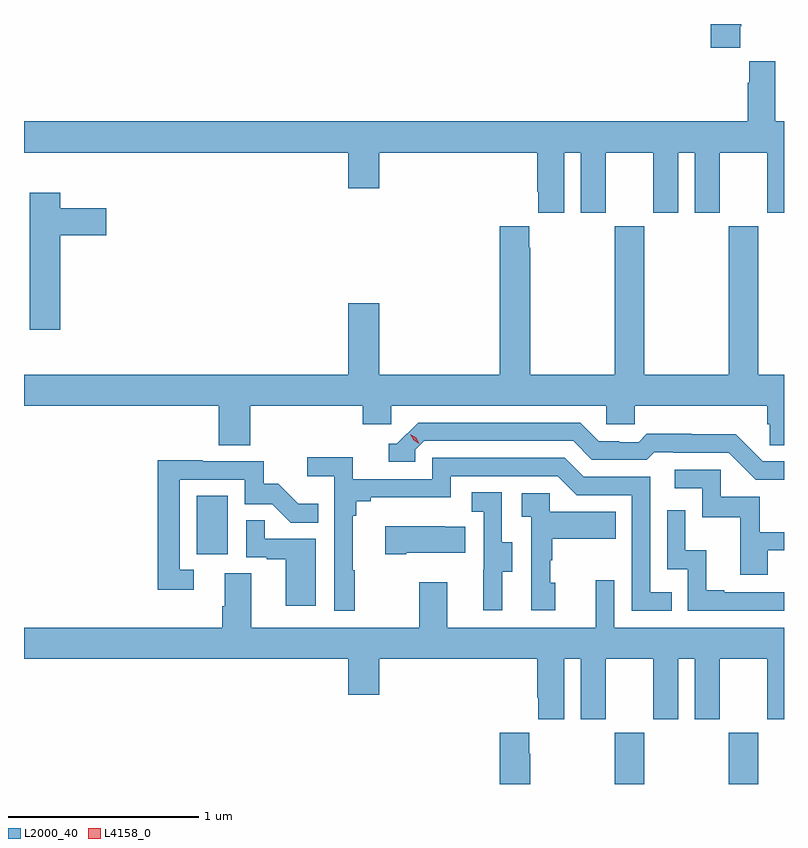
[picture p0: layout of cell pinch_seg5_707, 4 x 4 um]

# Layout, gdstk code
import gdstk
lib = gdstk.Library(unit=1e-6, precision=1e-09)
def R(c, l, rs):  # rectangles x0, y0, x1, y1
    for r in rs: c.add(gdstk.rectangle(r[:2], r[2:], *l))
def P(c, l, *ps):  # polygons
    for p in ps: c.add(gdstk.Polygon(p, *l))
L2000_40 = (2000, 40)
L4158_0 = (4158, 0)

pinch_seg5_707 = lib.new_cell('pinch_seg5_707')
R(pinch_seg5_707, L2000_40, [(1143.433,845.445,1143.588,845.716), (1144.033,845.445,1144.188,845.716), (1141.232,846.654,1141.396,846.961)])
P(pinch_seg5_707, L2000_40, [(1144.093,849.433),(1144.098,849.433),(1144.098,849.445),(1143.938,849.445),(1143.938,849.321),(1144.093,849.321)],
  [(1140.323,848.768),(1142.03,848.768),(1142.03,848.58),(1142.194,848.58),(1142.194,848.768),(1143.023,848.768),(1143.023,848.563),(1143.029,848.563),(1143.029,848.451),(1143.166,848.451),(1143.166,848.768),(1143.254,848.768),(1143.254,848.451),(1143.385,848.451),(1143.385,848.768),(1143.635,848.768),(1143.635,848.451),(1143.766,848.451),(1143.766,848.768),(1143.854,848.768),(1143.854,848.451),(1143.985,848.451),(1143.985,848.768),(1144.235,848.768),(1144.235,848.451),(1144.323,848.451),(1144.323,848.932),(1144.276,848.932),(1144.276,849.25),(1144.139,849.25),(1144.139,849.137),(1144.133,849.137),(1144.133,848.932),(1140.323,848.932)],
  [(1140.514,848.333),(1140.757,848.333),(1140.757,848.475),(1140.514,848.475),(1140.514,848.557),(1140.353,848.557),(1140.353,847.836),(1140.514,847.836)],
  [(1141.514,847.436),(1142.105,847.436),(1142.105,847.338),(1142.256,847.338),(1142.256,847.436),(1143.387,847.436),(1143.387,847.338),(1143.537,847.338),(1143.537,847.436),(1144.235,847.436),(1144.235,847.338),(1144.249,847.338),(1144.249,847.228),(1144.323,847.228),(1144.323,847.6),(1144.188,847.6),(1144.188,848.38),(1144.033,848.38),(1144.033,847.6),(1143.588,847.6),(1143.588,848.38),(1143.433,848.38),(1143.433,847.6),(1142.988,847.6),(1142.988,848.267),(1142.983,848.267),(1142.983,848.38),(1142.828,848.38),(1142.828,847.6),(1142.194,847.6),(1142.194,847.975),(1142.03,847.975),(1142.03,847.6),(1140.323,847.6),(1140.323,847.436),(1141.349,847.436),(1141.349,847.228),(1141.514,847.228)],
  [(1144.323,847.143),(1144.212,847.143),(1144.07,847.285),(1143.834,847.285),(1143.834,847.288),(1143.601,847.288),(1143.559,847.245),(1143.456,847.245),(1143.456,847.248),(1143.349,847.248),(1143.25,847.347),(1142.397,847.347),(1142.286,847.236),(1142.243,847.236),(1142.243,847.14),(1142.382,847.14),(1142.382,847.203),(1142.43,847.251),(1143.213,847.251),(1143.312,847.152),(1143.601,847.152),(1143.64,847.191),(1143.739,847.191),(1143.739,847.188),(1144.032,847.188),(1144.173,847.047),(1144.323,847.047)],
  [(1142.065,846.569),(1142.053,846.569),(1142.053,846.857),(1142.072,846.857),(1142.072,846.934),(1142.149,846.934),(1142.149,846.953),(1142.568,846.953),(1142.568,847.065),(1143.132,847.065),(1143.231,846.966),(1143.522,846.966),(1143.522,846.357),(1143.731,846.357),(1143.731,846.453),(1143.618,846.453),(1143.618,847.062),(1143.268,847.062),(1143.169,847.161),(1142.472,847.161),(1142.472,847.05),(1142.054,847.05),(1142.054,847.166),(1141.815,847.166),(1141.815,847.064),(1141.956,847.064),(1141.956,846.357),(1142.065,846.357)],
  [(1141.216,846.573),(1141.143,846.573),(1141.143,847.047),(1141.485,847.047),(1141.485,846.918),(1141.629,846.918),(1141.727,846.82),(1141.871,846.82),(1141.871,846.919),(1141.767,846.919),(1141.66,847.026),(1141.584,847.026),(1141.584,847.143),(1141.265,847.143),(1141.265,847.148),(1141.027,847.148),(1141.027,846.468),(1141.216,846.468)],
  [(1144.237,846.675),(1144.323,846.675),(1144.323,846.771),(1144.195,846.771),(1144.195,846.957),(1143.99,846.957),(1143.99,847.098),(1143.747,847.098),(1143.747,847.002),(1143.894,847.002),(1143.894,846.849),(1144.093,846.849),(1144.093,846.546),(1144.237,846.546)],
  [(1142.839,846.562),(1142.893,846.562),(1142.893,846.717),(1142.838,846.717),(1142.838,846.98),(1142.679,846.98),(1142.679,846.877),(1142.742,846.877),(1142.742,846.573),(1142.741,846.573),(1142.741,846.36),(1142.839,846.36)],
  [(1143.118,846.504),(1143.093,846.504),(1143.093,846.623),(1143.103,846.623),(1143.103,846.737),(1143.437,846.737),(1143.437,846.877),(1143.09,846.877),(1143.09,846.975),(1142.943,846.975),(1142.943,846.851),(1142.994,846.851),(1142.994,846.36),(1143.118,846.36)],
  [(1144.323,846.453),(1144.009,846.453),(1144.009,846.466),(1143.914,846.466),(1143.914,846.674),(1143.804,846.674),(1143.804,846.886),(1143.708,846.886),(1143.708,846.576),(1143.816,846.576),(1143.816,846.357),(1144.323,846.357)],
  [(1141.858,846.735),(1141.589,846.735),(1141.589,846.833),(1141.494,846.833),(1141.494,846.639),(1141.601,846.639),(1141.601,846.627),(1141.7,846.627),(1141.7,846.384),(1141.858,846.384)],
  [(1142.335,846.662),(1142.645,846.662),(1142.645,846.799),(1142.537,846.799),(1142.537,846.802),(1142.223,846.802),(1142.223,846.655),(1142.335,846.655)],
  [(1143.166,846.104),(1143.254,846.104),(1143.254,845.787),(1143.385,845.787),(1143.385,846.104),(1143.635,846.104),(1143.635,845.787),(1143.766,845.787),(1143.766,846.104),(1143.854,846.104),(1143.854,845.787),(1143.985,845.787),(1143.985,846.104),(1144.235,846.104),(1144.235,845.787),(1144.323,845.787),(1144.323,846.268),(1143.429,846.268),(1143.429,846.517),(1143.332,846.517),(1143.332,846.268),(1142.551,846.268),(1142.551,846.508),(1142.404,846.508),(1142.404,846.268),(1141.519,846.268),(1141.519,846.554),(1141.379,846.554),(1141.379,846.38),(1141.367,846.38),(1141.367,846.268),(1140.323,846.268),(1140.323,846.104),(1142.03,846.104),(1142.03,845.916),(1142.194,845.916),(1142.194,846.104),(1143.023,846.104),(1143.023,845.899),(1143.029,845.899),(1143.029,845.787),(1143.166,845.787)],
  [(1142.988,845.603),(1142.983,845.603),(1142.983,845.716),(1142.828,845.716),(1142.828,845.445),(1142.988,845.445)])
P(pinch_seg5_707, L4158_0, [(1142.404,847.235),(1142.373,847.254),(1142.356,847.286),(1142.356,847.287),(1142.356,847.287),(1142.387,847.268),(1142.404,847.235),(1142.404,847.235)])

lib.write_gds('pinch_seg5_707.gds')
